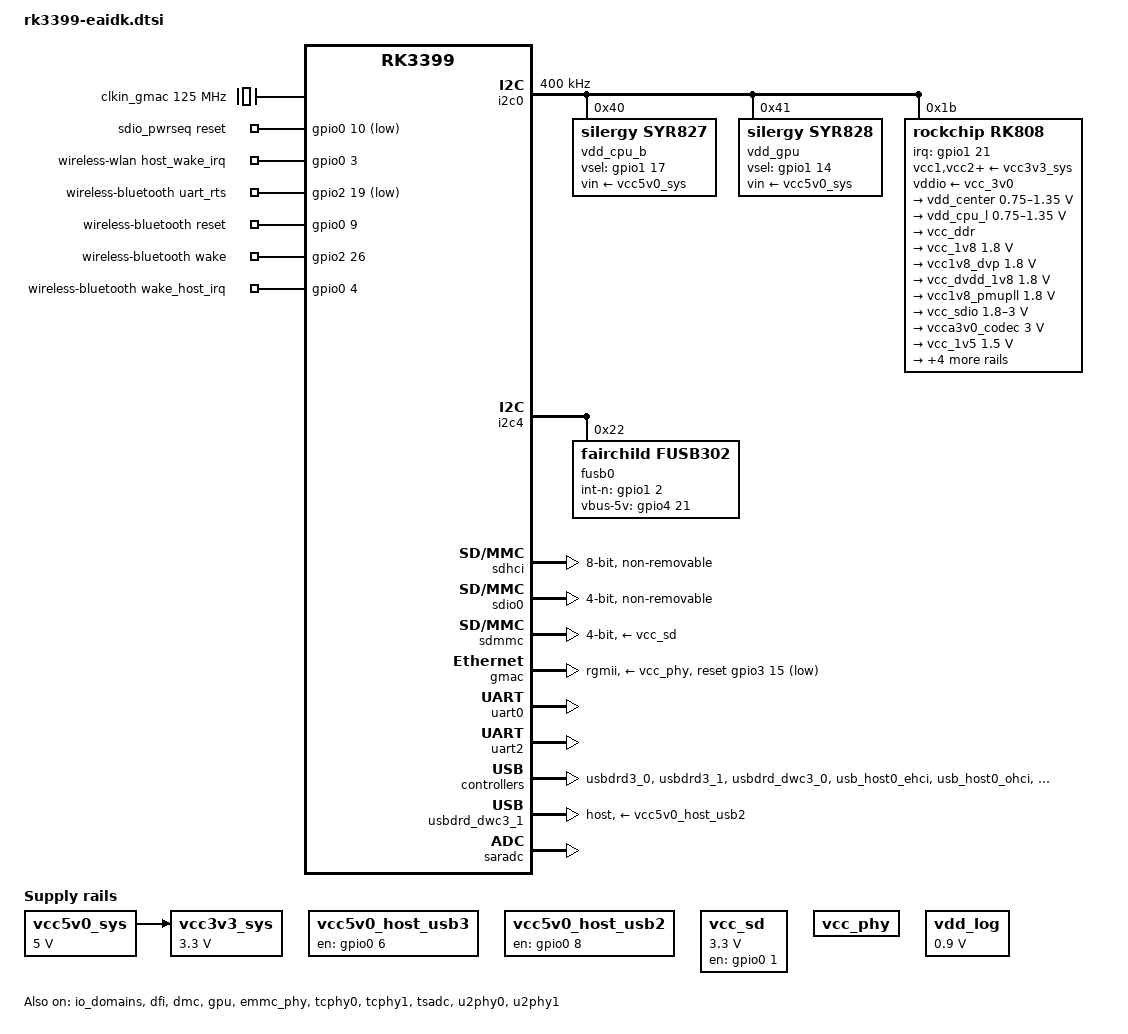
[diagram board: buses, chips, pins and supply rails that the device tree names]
/*
 * Copyright (c) 2018 Fuzhou Rockchip Electronics Co., Ltd
 *
 * This file is dual-licensed: you can use it either under the terms
 * of the GPL or the X11 license, at your option. Note that this dual
 * licensing only applies to this file, and not this project as a
 * whole.
 *
 *  a) This file is free software; you can redistribute it and/or
 *     modify it under the terms of the GNU General Public License as
 *     published by the Free Software Foundation; either version 2 of the
 *     License, or (at your option) any later version.
 *
 *     This file is distributed in the hope that it will be useful,
 *     but WITHOUT ANY WARRANTY; without even the implied warranty of
 *     MERCHANTABILITY or FITNESS FOR A PARTICULAR PURPOSE.  See the
 *     GNU General Public License for more details.
 *
 * Or, alternatively,
 *
 *  b) Permission is hereby granted, free of charge, to any person
 *     obtaining a copy of this software and associated documentation
 *     files (the "Software"), to deal in the Software without
 *     restriction, including without limitation the rights to use,
 *     copy, modify, merge, publish, distribute, sublicense, and/or
 *     sell copies of the Software, and to permit persons to whom the
 *     Software is furnished to do so, subject to the following
 *     conditions:
 *
 *     The above copyright notice and this permission notice shall be
 *     included in all copies or substantial portions of the Software.
 *
 *     THE SOFTWARE IS PROVIDED "AS IS", WITHOUT WARRANTY OF ANY KIND,
 *     EXPRESS OR IMPLIED, INCLUDING BUT NOT LIMITED TO THE WARRANTIES
 *     OF MERCHANTABILITY, FITNESS FOR A PARTICULAR PURPOSE AND
 *     NONINFRINGEMENT. IN NO EVENT SHALL THE AUTHORS OR COPYRIGHT
 *     HOLDERS BE LIABLE FOR ANY CLAIM, DAMAGES OR OTHER LIABILITY,
 *     WHETHER IN AN ACTION OF CONTRACT, TORT OR OTHERWISE, ARISING
 *     FROM, OUT OF OR IN CONNECTION WITH THE SOFTWARE OR THE USE OR
 *     OTHER DEALINGS IN THE SOFTWARE.
 */

#include "dt-bindings/pwm/pwm.h"
#include "rk3399.dtsi"
#include "rk3399-opp.dtsi"

/ {
	compatible = "rockchip,rk3399-eaidk","rockchip,rk3399";

	vcc5v0_sys: vcc5v0-sys {
		compatible = "regulator-fixed";
		regulator-name = "vcc5v0_sys";
		regulator-min-microvolt = <5000000>;
		regulator-max-microvolt = <5000000>;
		regulator-always-on;
		regulator-boot-on;
	};

	vcc3v3_sys: vcc3v3-sys {
		compatible = "regulator-fixed";
		regulator-name = "vcc3v3_sys";
		regulator-min-microvolt = <3300000>;
		regulator-max-microvolt = <3300000>;
		regulator-always-on;
		regulator-boot-on;
		vin-supply = <&vcc5v0_sys>;
	};

	vcc5v0_host_usb3: vcc5v0-host-usb3-regulator {
		compatible = "regulator-fixed";
		enable-active-high;
		gpio = <&gpio0 6 GPIO_ACTIVE_HIGH>;
		pinctrl-names = "default";
		pinctrl-0 = <&host_vbus_drv_usb3>;
		regulator-name = "vcc5v0_host_usb3";
		regulator-always-on;
	};

	vcc5v0_host_usb2: vcc5v0-host-usb2-regulator {
		compatible = "regulator-fixed";
		enable-active-high;
		gpio = <&gpio0 8 GPIO_ACTIVE_HIGH>;
		pinctrl-names = "default";
		pinctrl-0 = <&host_vbus_drv_usb2>;
		regulator-name = "vcc5v0_host_usb2";
		regulator-always-on;
	};

	vcc_sd: vcc-sd {
		compatible = "regulator-fixed";
		enable-active-high;
		gpio = <&gpio0 1 GPIO_ACTIVE_HIGH>;
		pinctrl-names = "default";
		pinctrl-0 = <&vcc_sd_h>;
		regulator-name = "vcc_sd";
		regulator-min-microvolt = <3300000>;
		regulator-max-microvolt = <3300000>;
	};

	vcc_phy: vcc-phy-regulator {
		compatible = "regulator-fixed";
		regulator-name = "vcc_phy";
		regulator-always-on;
		regulator-boot-on;
	};

	vdd_log: vdd-log {
		compatible = "pwm-regulator";
		//pwms = <&pwm2 0 25000 1>;
		regulator-name = "vdd_log";
		regulator-min-microvolt = <900000>;
		regulator-max-microvolt = <900000>;
		regulator-always-on;
		regulator-boot-on;

		/* for rockchip boot on */
		//rockchip,pwm_id= <2>;
		//rockchip,pwm_voltage = <1000000>;
	};

	
	clkin_gmac: external-gmac-clock {
		compatible = "fixed-clock";
		clock-frequency = <125000000>;
		clock-output-names = "clkin_gmac";
		#clock-cells = <0>;
	};

	sdio_pwrseq: sdio-pwrseq {
		compatible = "mmc-pwrseq-simple";
		clocks = <&rk808 1>;
		clock-names = "ext_clock";
		pinctrl-names = "default";
		pinctrl-0 = <&wifi_enable_h>;

		/*
		 * On the module itself this is one of these (depending
		 * on the actual card populated):
		 * - SDIO_RESET_L_WL_REG_ON
		 * - PDN (power down when low)
		 */
		reset-gpios = <&gpio0 10 GPIO_ACTIVE_LOW>; /* GPIO0_B2 */
	};

	wireless-wlan {
		compatible = "wlan-platdata";
		rockchip,grf = <&grf>;
		wifi_chip_type = "ap6354";
		sdio_vref = <1800>;
		WIFI,host_wake_irq = <&gpio0 3 GPIO_ACTIVE_HIGH>;
		status = "okay";
	};

	wireless-bluetooth {
		compatible = "bluetooth-platdata";
		clocks = <&rk808 1>;
		clock-names = "ext_clock";
		/* wifi-bt-power-toggle; */
		uart_rts_gpios = <&gpio2 19 GPIO_ACTIVE_LOW>;
		pinctrl-names = "default", "rts_gpio";
		pinctrl-0 = <&uart0_rts>;
		pinctrl-1 = <&uart0_gpios>;
		/* BT,power_gpio  = <&gpio3 19 GPIO_ACTIVE_HIGH>; */
		BT,reset_gpio    = <&gpio0 9 GPIO_ACTIVE_HIGH>;
		BT,wake_gpio     = <&gpio2 26 GPIO_ACTIVE_HIGH>;
		BT,wake_host_irq = <&gpio0 4 GPIO_ACTIVE_HIGH>;
		status = "okay";
	};
};

&i2c0 {
	status = "okay";
	i2c-scl-rising-time-ns = <168>;
	i2c-scl-falling-time-ns = <4>;
	clock-frequency = <400000>;

	vdd_cpu_b: syr827@40 {
		compatible = "silergy,syr827";
		reg = <0x40>;
		vin-supply = <&vcc5v0_sys>;
		regulator-compatible = "fan53555-reg";
		pinctrl-names = "default";
		pinctrl-0 = <&vsel1_gpio>;
		vsel-gpios = <&gpio1 17 GPIO_ACTIVE_HIGH>;
		regulator-name = "vdd_cpu_b";
		regulator-min-microvolt = <712500>;
		regulator-max-microvolt = <1500000>;
		regulator-ramp-delay = <1000>;
		fcs,suspend-voltage-selector = <1>;
		regulator-always-on;
		regulator-boot-on;
		regulator-initial-state = <3>;
		regulator-state-mem {
			regulator-off-in-suspend;
		};
	};

	vdd_gpu: syr828@41 {
		compatible = "silergy,syr828";
		reg = <0x41>;
		vin-supply = <&vcc5v0_sys>;
		regulator-compatible = "fan53555-reg";
		pinctrl-names = "default";
		pinctrl-0 = <&vsel2_gpio>;
		vsel-gpios = <&gpio1 14 GPIO_ACTIVE_HIGH>;
		regulator-name = "vdd_gpu";
		regulator-min-microvolt = <712500>;
		regulator-max-microvolt = <1500000>;
		regulator-ramp-delay = <1000>;
		fcs,suspend-voltage-selector = <1>;
		regulator-always-on;
		regulator-boot-on;
		regulator-initial-state = <3>;
		regulator-state-mem {
			regulator-off-in-suspend;
		};
	};

	rk808: pmic@1b {
		compatible = "rockchip,rk808";
		reg = <0x1b>;
		interrupt-parent = <&gpio1>;
		interrupts = <21 IRQ_TYPE_LEVEL_LOW>;
		pinctrl-names = "default";
		pinctrl-0 = <&pmic_int_l>;
		rockchip,system-power-controller;
		wakeup-source;
		#clock-cells = <1>;
		clock-output-names = "xin32k", "rk808-clkout2";

		vcc1-supply = <&vcc3v3_sys>;
		vcc2-supply = <&vcc3v3_sys>;
		vcc3-supply = <&vcc3v3_sys>;
		vcc4-supply = <&vcc3v3_sys>;
		vcc6-supply = <&vcc3v3_sys>;
		vcc7-supply = <&vcc3v3_sys>;
		vcc8-supply = <&vcc3v3_sys>;
		vcc9-supply = <&vcc3v3_sys>;
		vcc10-supply = <&vcc3v3_sys>;
		vcc11-supply = <&vcc3v3_sys>;
		vcc12-supply = <&vcc3v3_sys>;
		vddio-supply = <&vcc_3v0>;

		regulators {
			vdd_center: DCDC_REG1 {
				regulator-always-on;
				regulator-boot-on;
				regulator-min-microvolt = <750000>;
				regulator-max-microvolt = <1350000>;
				regulator-ramp-delay = <6001>;
				regulator-name = "vdd_center";
				regulator-state-mem {
					regulator-off-in-suspend;
				};
			};

			vdd_cpu_l: DCDC_REG2 {
				regulator-always-on;
				regulator-boot-on;
				regulator-min-microvolt = <750000>;
				regulator-max-microvolt = <1350000>;
				regulator-ramp-delay = <6001>;
				regulator-name = "vdd_cpu_l";
				regulator-state-mem {
					regulator-off-in-suspend;
				};
			};

			vcc_ddr: DCDC_REG3 {
				regulator-always-on;
				regulator-boot-on;
				regulator-name = "vcc_ddr";
				regulator-state-mem {
					regulator-on-in-suspend;
				};
			};

			vcc_1v8: DCDC_REG4 {
				regulator-always-on;
				regulator-boot-on;
				regulator-min-microvolt = <1800000>;
				regulator-max-microvolt = <1800000>;
				regulator-name = "vcc_1v8";
				regulator-state-mem {
					regulator-on-in-suspend;
					regulator-suspend-microvolt = <1800000>;
				};
			};

			vcc1v8_dvp: LDO_REG1 {
				regulator-always-on;
				regulator-boot-on;
				regulator-min-microvolt = <1800000>;
				regulator-max-microvolt = <1800000>;
				regulator-name = "vcc1v8_dvp";
				regulator-state-mem {
					regulator-off-in-suspend;
				};
			};

			vcc_dvdd_1v8: LDO_REG2 {
				regulator-always-on;
				regulator-boot-on;
				regulator-min-microvolt = <1800000>;
				regulator-max-microvolt = <1800000>;
				regulator-name = "vcc_dvdd_1v8";
				regulator-state-mem {
					regulator-off-in-suspend;
				};
			};

			vcc1v8_pmupll: LDO_REG3 {
				regulator-always-on;
				regulator-boot-on;
				regulator-min-microvolt = <1800000>;
				regulator-max-microvolt = <1800000>;
				regulator-name = "vcc1v8_pmupll";
				regulator-state-mem {
					regulator-on-in-suspend;
					regulator-suspend-microvolt = <1800000>;
				};
			};

			vcc_sdio: LDO_REG4 {
				regulator-always-on;
				regulator-boot-on;
				regulator-min-microvolt = <1800000>;
				regulator-max-microvolt = <3000000>;
				regulator-name = "vcc_sdio";
				regulator-state-mem {
					regulator-on-in-suspend;
					regulator-suspend-microvolt = <3000000>;
				};
			};

			vcca3v0_codec: LDO_REG5 {
				regulator-always-on;
				regulator-boot-on;
				regulator-min-microvolt = <3000000>;
				regulator-max-microvolt = <3000000>;
				regulator-name = "vcca3v0_codec";
				regulator-state-mem {
					regulator-off-in-suspend;
				};
			};

			vcc_1v5: LDO_REG6 {
				regulator-always-on;
				regulator-boot-on;
				regulator-min-microvolt = <1500000>;
				regulator-max-microvolt = <1500000>;
				regulator-name = "vcc_1v5";
				regulator-state-mem {
					regulator-on-in-suspend;
					regulator-suspend-microvolt = <1500000>;
				};
			};

			vcca1v8_codec: LDO_REG7 {
				regulator-always-on;
				regulator-boot-on;
				regulator-min-microvolt = <1800000>;
				regulator-max-microvolt = <1800000>;
				regulator-name = "vcca1v8_codec";
				regulator-state-mem {
					regulator-off-in-suspend;
				};
			};

			vcc_3v0: LDO_REG8 {
				regulator-always-on;
				regulator-boot-on;
				regulator-min-microvolt = <3000000>;
				regulator-max-microvolt = <3000000>;
				regulator-name = "vcc_3v0";
				regulator-state-mem {
					regulator-on-in-suspend;
					regulator-suspend-microvolt = <3000000>;
				};
			};

			vcc3v3_s3: SWITCH_REG1 {
				regulator-always-on;
				regulator-boot-on;
				regulator-name = "vcc3v3_s3";
				regulator-state-mem {
					regulator-off-in-suspend;
				};
			};

			vcc3v3_s0: SWITCH_REG2 {
				regulator-always-on;
				regulator-boot-on;
				regulator-name = "vcc3v3_s0";
				regulator-state-mem {
					regulator-off-in-suspend;
				};
			};
		};
	};
};

&i2c4 {
	status = "okay";
	i2c-scl-rising-time-ns = <475>;
	i2c-scl-falling-time-ns = <26>;

	fusb0: fusb30x@22 {
		compatible = "fairchild,fusb302";
		reg = <0x22>;
		pinctrl-names = "default";
		pinctrl-0 = <&fusb0_int>;
		int-n-gpios = <&gpio1 2 GPIO_ACTIVE_HIGH>;
		vbus-5v-gpios = <&gpio4 21 GPIO_ACTIVE_HIGH>;
		status = "okay";
	};
};

&pmu_io_domains {
	status = "okay";
	pmu1830-supply = <&vcc_3v0>;
};

&io_domains {
	status = "okay";

	bt656-supply = <&vcc_3v0>;       /* APIO2_VDD */
	audio-supply = <&vcca1v8_codec>; /* APIO5_VDD */
	sdmmc-supply = <&vcc_sdio>;      /* SDMMC0_VDD */
	gpio1830-supply = <&vcc_3v0>;    /* APIO4_VDD */
};

&cpu_l0 {
	cpu-supply = <&vdd_cpu_l>;
};

&cpu_l1 {
	cpu-supply = <&vdd_cpu_l>;
};

&cpu_l2 {
	cpu-supply = <&vdd_cpu_l>;
};

&cpu_l3 {
	cpu-supply = <&vdd_cpu_l>;
};

&cpu_b0 {
	cpu-supply = <&vdd_cpu_b>;
};

&cpu_b1 {
	cpu-supply = <&vdd_cpu_b>;
};

&dfi {
	status = "okay";
};

&dmc {
	status = "okay";
	center-supply = <&vdd_center>;
	upthreshold = <40>;
	downdifferential = <20>;
	system-status-freq = <
		/*system status         freq(KHz)*/
		SYS_STATUS_NORMAL       800000
		SYS_STATUS_REBOOT       528000
		SYS_STATUS_SUSPEND      200000
		SYS_STATUS_VIDEO_1080P  200000
		SYS_STATUS_VIDEO_4K     600000
		SYS_STATUS_VIDEO_4K_10B 800000
		SYS_STATUS_PERFORMANCE  800000
		SYS_STATUS_BOOST        400000
		SYS_STATUS_DUALVIEW     600000
		SYS_STATUS_ISP          600000
	>;
	vop-bw-dmc-freq = <
	/* min_bw(MB/s) max_bw(MB/s) freq(KHz) */
		0       577      200000
		578     1701     300000
		1702    99999    400000
	>;
	auto-min-freq = <200000>;
};

&gpu {
	status = "okay";
	mali-supply = <&vdd_gpu>;
};

&sdhci {
	bus-width = <8>;
	mmc-hs400-1_8v;
	supports-emmc;
	non-removable;
	keep-power-in-suspend;
	mmc-hs400-enhanced-strobe;
	status = "okay";
};

&emmc_phy {
	status = "okay";
};

&sdio0 {
	clock-frequency = <50000000>;
	clock-freq-min-max = <200000 50000000>;
	supports-sdio;
	bus-width = <4>;
	disable-wp;
	cap-sd-highspeed;
	cap-sdio-irq;
	keep-power-in-suspend;
	mmc-pwrseq = <&sdio_pwrseq>;
	non-removable;
	num-slots = <1>;
	pinctrl-names = "default";
	pinctrl-0 = <&sdio0_bus4 &sdio0_cmd &sdio0_clk>;
	sd-uhs-sdr104;
	status = "okay";
};

&sdmmc {
	clock-frequency = <150000000>;
	clock-freq-min-max = <100000 150000000>;
	supports-sd;
	bus-width = <4>;
	cap-mmc-highspeed;
	cap-sd-highspeed;
	disable-wp;
	num-slots = <1>;
	//sd-uhs-sdr104;
	vmmc-supply = <&vcc_sd>;
	vqmmc-supply = <&vcc_sdio>;
	pinctrl-names = "default";
	pinctrl-0 = <&sdmmc_clk &sdmmc_cmd &sdmmc_cd &sdmmc_bus4>;
	status = "okay";
};

&gmac {
        phy-supply = <&vcc_phy>;
        phy-mode = "rgmii";
        clock_in_out = "input";
        snps,reset-gpio = <&gpio3 15 GPIO_ACTIVE_LOW>;
        snps,reset-active-low;
        snps,reset-delays-us = <0 10000 50000>;
        assigned-clocks = <&cru SCLK_RMII_SRC>;
        assigned-clock-parents = <&clkin_gmac>;
        pinctrl-names = "default";
        pinctrl-0 = <&rgmii_pins>;
        tx_delay = <0x28>;
        rx_delay = <0x11>;
        status = "okay";
};

&tcphy0 {
	extcon = <&fusb0>;
	status = "okay";
};

&tcphy1 {
	status = "okay";
};

&tsadc {
	/* tshut mode 0:CRU 1:GPIO */
	rockchip,hw-tshut-mode = <1>;
	/* tshut polarity 0:LOW 1:HIGH */
	rockchip,hw-tshut-polarity = <1>;
	status = "okay";
};

&u2phy0 {
	status = "okay";
	extcon = <&fusb0>;

	u2phy0_otg: otg-port {
		status = "okay";
	};

	u2phy0_host: host-port {
		phy-supply = <&vcc5v0_host_usb2>;
		status = "okay";
	};
};

&u2phy1 {
	status = "okay";

	u2phy1_otg: otg-port {
		status = "okay";
	};

	u2phy1_host: host-port {
		phy-supply = <&vcc5v0_host_usb2>;
		status = "okay";
	};
};

&uart0 {
	pinctrl-names = "default";
	pinctrl-0 = <&uart0_xfer &uart0_cts>;
	status = "okay";
};

&uart2 {
	status = "okay";
};

&usbdrd3_0 {
	status = "okay";
	extcon = <&fusb0>;
};

&usbdrd3_1 {
	status = "okay";
};

&usbdrd_dwc3_0 {
	status = "okay";
};

&usbdrd_dwc3_1 {
	status = "okay";
	dr_mode = "host";
	phy-supply = <&vcc5v0_host_usb2>;
};

&usb_host0_ehci {
	status = "okay";
};

&usb_host0_ohci {
	status = "okay";
};

&usb_host1_ehci {
	status = "okay";
};

&usb_host1_ohci {
	status = "okay";
};

&saradc {
        status = "okay";
};

&rockchip_suspend {
	status = "okay";
	rockchip,sleep-debug-en = <1>;
	rockchip,sleep-mode-config = <
		(0
		| RKPM_SLP_ARMPD
		| RKPM_SLP_PERILPPD
		| RKPM_SLP_DDR_RET
		| RKPM_SLP_PLLPD
		| RKPM_SLP_CENTER_PD
		| RKPM_SLP_AP_PWROFF
		)
		>;
	rockchip,wakeup-config = <
		(0
		| RKPM_GPIO_WKUP_EN
		| RKPM_PWM_WKUP_EN
		)
		>;
	rockchip,pwm-regulator-config = <
		(0
		| PWM2_REGULATOR_EN
		)
		>;
	rockchip,power-ctrl =
		<&gpio1 17 GPIO_ACTIVE_HIGH>,
		<&gpio1 14 GPIO_ACTIVE_HIGH>;
};

&pinctrl {
	pmic {
		pmic_int_l: pmic-int-l {
			rockchip,pins =
				<1 21 RK_FUNC_GPIO &pcfg_pull_up>;
		};

		vsel1_gpio: vsel1-gpio {
			rockchip,pins =
				<1 17 RK_FUNC_GPIO &pcfg_pull_down>;
		};

		vsel2_gpio: vsel2-gpio {
			rockchip,pins =
				<1 14 RK_FUNC_GPIO &pcfg_pull_down>;
		};
	};
	

	usb {
		host_vbus_drv_usb3: host-vbus-drv-usb3 {
			rockchip,pins =
				<0 6 RK_FUNC_GPIO &pcfg_pull_none>;
		};
		host_vbus_drv_usb2: host-vbus-drv-usb2 {
			rockchip,pins =
				<0 8 RK_FUNC_GPIO &pcfg_pull_none>;
		};
	};

	vcc_sd {
		vcc_sd_h: vcc-sd-h {
			rockchip,pins =
				<0 1 RK_FUNC_GPIO &pcfg_pull_up>;
		};
	};

	fusb30x {
		fusb0_int: fusb0-int {
			rockchip,pins = <1 2 RK_FUNC_GPIO &pcfg_pull_up>;
		};
	};

	sdio-pwrseq {
		wifi_enable_h: wifi-enable-h {
			rockchip,pins =
				<0 10 RK_FUNC_GPIO &pcfg_pull_none>;
		};
        };

	wireless-bluetooth {
		uart0_gpios: uart0-gpios {
			rockchip,pins = <2 19 RK_FUNC_GPIO &pcfg_pull_none>;
		};
	};
};

